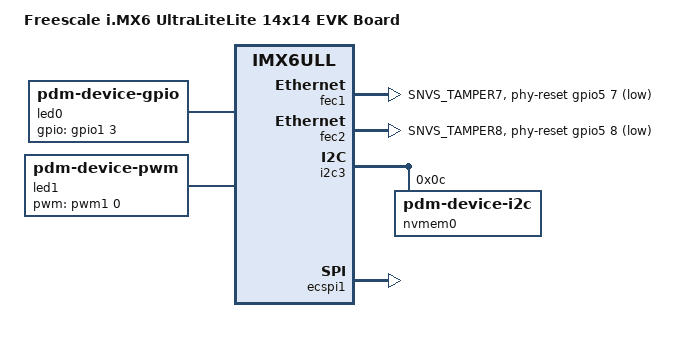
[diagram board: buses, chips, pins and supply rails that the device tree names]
// SPDX-License-Identifier: (GPL-2.0 OR MIT)
//
// Copyright (C) 2016 Freescale Semiconductor, Inc.

/dts-v1/;

#include "imx6ull.dtsi"
#include "imx6ul-14x14-evk.dtsi"

/ {
	model = "Freescale i.MX6 UltraLiteLite 14x14 EVK Board";
	compatible = "fsl,imx6ull-14x14-evk", "fsl,imx6ull";

    sound-wm8960 {
        status = "disabled";
    };

    spi-4 {
        status = "disabled";
    };
    
    led0: pdmdev-gpio@0 {
        index = <0>;
        compatible = "pdm-device-gpio", "pdm-switch-gpio";
        pinctrl-names = "default";
        pinctrl-0 = <&pinctrl_gpio_leds>;
        gpios = <&gpio1 3 GPIO_ACTIVE_HIGH>;
		default-state = "off";
		status = "okay";
    };

    led1: pdmdev-pwm@0 {
        index = <0>;
        compatible = "pdm-device-pwm", "pdm-dimmer-pwm";
		pwms = <&pwm1 0 5000000 0>;
		level-map = <0 15 30 45 70 85 100 130 180 250>;
		default-level = <0>;
		status = "okay";
    };
};

&clks {
	assigned-clocks = <&clks IMX6UL_CLK_PLL3_PFD2>;
	assigned-clock-rates = <320000000>;
};

&iomuxc {
    pinctrl_fec1_reset: fec1_resetgrp {
        fsl,pins = <
            MX6UL_PAD_SNVS_TAMPER7__GPIO5_IO07	0x79
        >;
    };

    pinctrl_fec2_reset: fec2_resetgrp {
        fsl,pins = <
            MX6UL_PAD_SNVS_TAMPER8__GPIO5_IO08	0x79
        >;
    };

    pinctrl_gpio_leds: gpio-leds {
        fsl,pins = <
            MX6UL_PAD_GPIO1_IO03__GPIO1_IO03	0x17059
        >;
    };
};

&fec1 {
    pinctrl-0 = <&pinctrl_enet1
             &pinctrl_fec1_reset>;
    phy-reset-gpios = <&gpio5 7 GPIO_ACTIVE_LOW>;
    phy-reset-duration = <200>;
    status = "okay";
};

&fec2 {
    pinctrl-0 = <&pinctrl_enet2
             &pinctrl_fec2_reset>;
    phy-reset-gpios = <&gpio5 8 GPIO_ACTIVE_LOW>;
    phy-reset-duration = <200>;
    status = "okay";
};

&ethphy0 {
    compatible = "ethernet-phy-id0007.c0f0";
    smsc,led-mode = <1>;
};

&ethphy1 {
    compatible = "ethernet-phy-id0007.c0f0";
    smsc,led-mode = <1>;
};

&can1 {
	status = "disabled";
};

&can2 {
	status = "disabled";
};

&i2c2 {
	status = "disabled";
};

&sai2 {
	status = "disabled";
};

&reg_can_3v3 {
	status = "disabled";
};

&tsc {
	status = "disabled";
};

&i2c3 {
	status = "okay";
	nvmem0: pdmdev-i2c@c {
		reg = <0xc>;
		compatible = "pdm-device-i2c", "pdm-nvmem-i2c";
		status = "okay";
	};
};

&ecspi1 {
	status = "okay";
	dmas = <>;
	dma-names = "";
	nvmem1: pdmdev-spi@0 {
		reg = <0>;
		compatible = "pdm-device-spi", "pdm-nvmem-spi";
		status = "disabled";
	};
};
